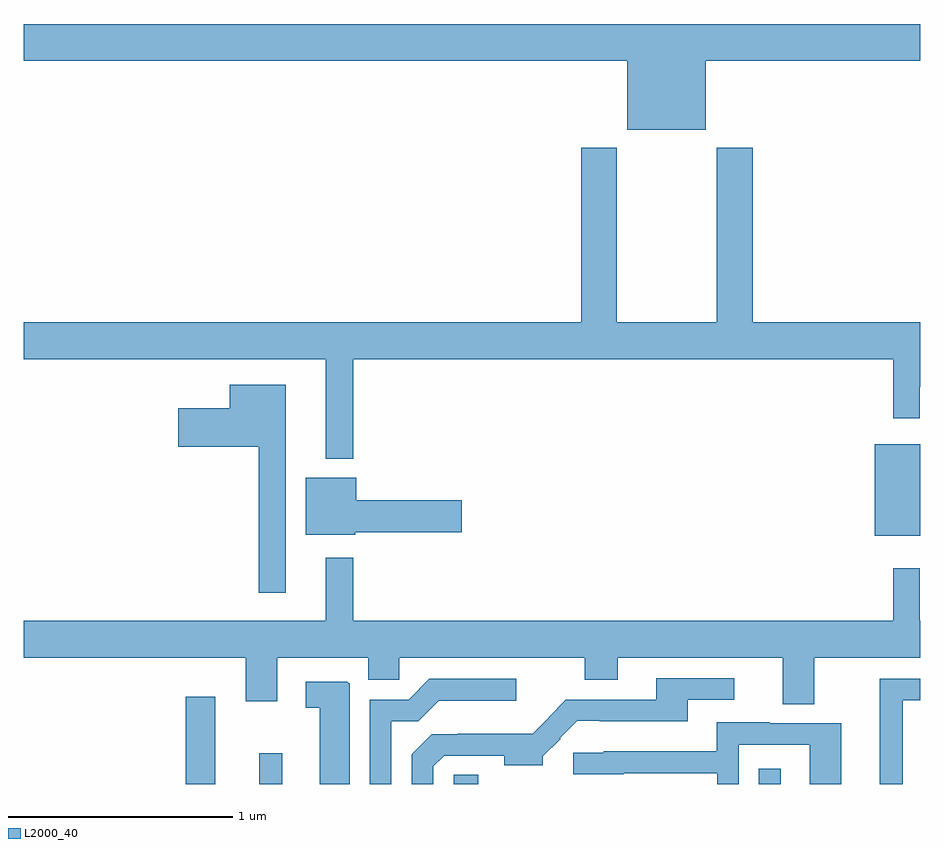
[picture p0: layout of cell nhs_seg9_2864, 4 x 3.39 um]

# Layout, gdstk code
import gdstk
lib = gdstk.Library(unit=1e-6, precision=1e-09)
def R(c, l, rs):  # rectangles x0, y0, x1, y1
    for r in rs: c.add(gdstk.rectangle(r[:2], r[2:], *l))
def P(c, l, *ps):  # polygons
    for p in ps: c.add(gdstk.Polygon(p, *l))
L2000_40 = (2000, 40)

nhs_seg9_2864 = lib.new_cell('nhs_seg9_2864')
R(nhs_seg9_2864, L2000_40, [(275.723,1218.5,275.854,1218.889), (276.05,1218.5,276.154,1218.637), (276.918,1218.5,277.027,1218.542), (278.28,1218.5,278.377,1218.568), (278.798,1219.607,279,1220.017)])
P(nhs_seg9_2864, L2000_40, [(278.044,1221.728),(279,1221.728),(279,1221.892),(275,1221.892),(275,1221.728),(277.694,1221.728),(277.694,1221.419),(278.044,1221.419)],
  [(276.469,1220.396),(278.881,1220.396),(278.881,1220.133),(278.998,1220.133),(278.998,1220.273),(279,1220.273),(279,1220.56),(278.252,1220.56),(278.252,1221.34),(278.092,1221.34),(278.092,1220.56),(277.647,1220.56),(277.647,1221.34),(277.487,1221.34),(277.487,1220.56),(275,1220.56),(275,1220.396),(276.347,1220.396),(276.347,1219.952),(276.469,1219.952)],
  [(276.169,1220.281),(275.918,1220.281),(275.918,1220.176),(275.688,1220.176),(275.688,1220.006),(276.048,1220.006),(276.048,1219.353),(276.169,1219.353)],
  [(276.48,1219.624),(276.955,1219.624),(276.955,1219.766),(276.484,1219.766),(276.484,1219.867),(276.257,1219.867),(276.257,1219.613),(276.48,1219.613)],
  [(278.527,1219.064),(279,1219.064),(279,1219.228),(278.999,1219.228),(278.999,1219.462),(278.881,1219.462),(278.881,1219.228),(276.469,1219.228),(276.469,1219.51),(276.347,1219.51),(276.347,1219.228),(275,1219.228),(275,1219.064),(275.99,1219.064),(275.99,1218.87),(276.13,1218.87),(276.13,1219.064),(276.536,1219.064),(276.536,1218.966),(276.675,1218.966),(276.675,1219.064),(277.504,1219.064),(277.504,1218.965),(277.651,1218.965),(277.651,1219.064),(278.387,1219.064),(278.387,1218.856),(278.527,1218.856)],
  [(276.828,1218.579),(276.876,1218.627),(277.145,1218.627),(277.145,1218.584),(277.316,1218.584),(277.316,1218.624),(277.395,1218.702),(277.392,1218.705),(277.469,1218.782),(277.57,1218.782),(277.57,1218.779),(277.963,1218.779),(277.963,1218.876),(278.17,1218.876),(278.17,1218.972),(277.823,1218.972),(277.823,1218.876),(277.419,1218.876),(277.343,1218.799),(277.345,1218.797),(277.271,1218.724),(276.937,1218.724),(276.937,1218.722),(276.821,1218.722),(276.732,1218.633),(276.732,1218.5),(276.828,1218.5)],
  [(276.639,1218.781),(276.76,1218.781),(276.851,1218.872),(277.198,1218.872),(277.198,1218.969),(276.81,1218.969),(276.717,1218.876),(276.543,1218.876),(276.543,1218.5),(276.639,1218.5)],
  [(278.923,1218.873),(279,1218.873),(279,1218.969),(278.819,1218.969),(278.819,1218.5),(278.923,1218.5)],
  [(276.454,1218.947),(276.444,1218.957),(276.258,1218.957),(276.258,1218.841),(276.32,1218.841),(276.32,1218.5),(276.454,1218.5)],
  [(278.19,1218.675),(278.508,1218.675),(278.508,1218.5),(278.647,1218.5),(278.647,1218.771),(278.329,1218.771),(278.329,1218.775),(278.093,1218.775),(278.093,1218.646),(277.587,1218.646),(277.587,1218.639),(277.452,1218.639),(277.452,1218.543),(277.677,1218.543),(277.677,1218.549),(278.094,1218.549),(278.094,1218.5),(278.19,1218.5)])

lib.write_gds('nhs_seg9_2864.gds')
